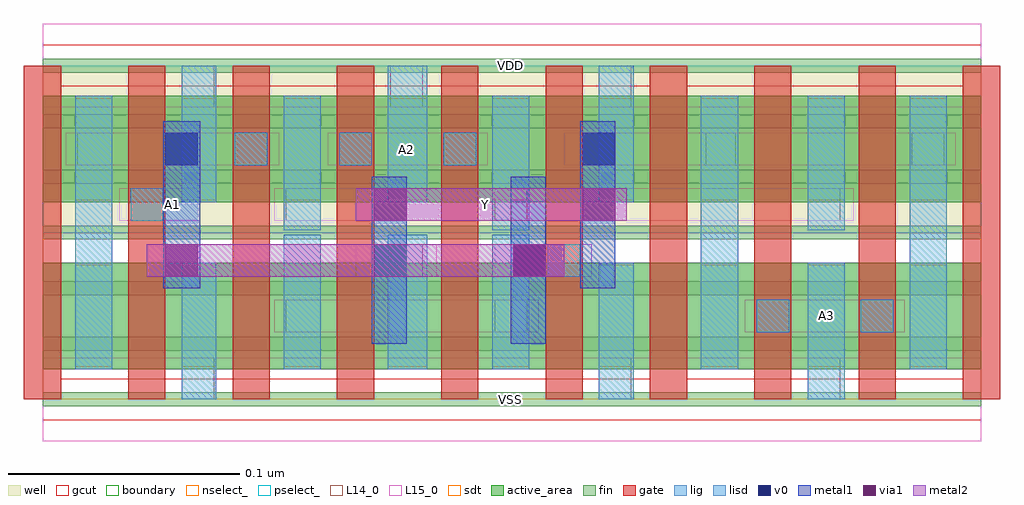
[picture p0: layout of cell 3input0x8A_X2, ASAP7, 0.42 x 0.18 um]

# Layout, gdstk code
import gdstk
lib = gdstk.Library(unit=1e-6, precision=1e-09)
def R(c, l, rs):  # rectangles x0, y0, x1, y1
    for r in rs: c.add(gdstk.rectangle(r[:2], r[2:], *l))
def A(c, l, x, y, w, h, nx, ny, dx, dy):  # array of equal rectangles
    R(c, l, [(x+i*dx, y+j*dy, x+i*dx+w, y+j*dy+h) for i in range(nx) for j in range(ny)])
def P(c, l, *ps):  # polygons
    for p in ps: c.add(gdstk.Polygon(p, *l))
well = (1, 0)
fin = (2, 0)
gate = (7, 0)
gcut = (10, 0)
active_area = (11, 0)
nselect_ = (12, 0)
pselect_ = (13, 0)
L14_0 = (14, 0)
L15_0 = (15, 0)
lig = (16, 0)
lisd = (17, 0)
v0 = (18, 0)
metal1 = (19, 0)
metal2 = (20, 0)
via1 = (21, 0)
sdt = (88, 0)
boundary = (100, 0)

c_3input0x8a_x2 = lib.new_cell('3input0x8A_X2')
R(c_3input0x8a_x2, well, [(0,0.072,0.405,0.144)])
A(c_3input0x8a_x2, fin, 0, -0.003, 0.405, 0.006, 1, 7, 0, 0.024)
A(c_3input0x8a_x2, gate, -0.008, 0, 0.016, 0.144, 10, 1, 0.045, 0)
P(c_3input0x8a_x2, gcut, [(0,-0.009),(0,0),(-0.008,0),(-0.008,0.135),(0.008,0.135),(0.008,0.009),(0.262,0.009),(0.262,0.135),(0.278,0.135),(0.278,0.009),(0.397,0.009),(0.397,0.135),(-0.008,0.135),(-0.008,0.144),(0,0.144),(0,0.153),(0.405,0.153),(0.405,0.144),(0.413,0.144),(0.413,0),(0.405,0),(0.405,-0.009)])
R(c_3input0x8a_x2, active_area, [(0,0.013,0.405,0.059), (0,0.085,0.405,0.131)])
R(c_3input0x8a_x2, nselect_, [(0,0,0.405,0.072)])
R(c_3input0x8a_x2, pselect_, [(0,0.072,0.405,0.144)])
A(c_3input0x8a_x2, L14_0, 0.083, 0.101, 0.014, 0.014, 3, 1, 0.045, 0)
A(c_3input0x8a_x2, L14_0, 0.06, 0.126, 0.014, 0.018, 3, 1, 0.09, 0)
R(c_3input0x8a_x2, L14_0, [(0.06,0,0.074,0.018), (0.24,0,0.254,0.018), (0.33,0,0.344,0.018), (0.105,0.029,0.12,0.043), (0.195,0.029,0.209,0.043), (0.308,0.029,0.322,0.043), (0.353,0.029,0.367,0.043), (0.15,0.053,0.164,0.067), (0.218,0.053,0.232,0.067), (0.038,0.077,0.052,0.091), (0.105,0.077,0.12,0.091), (0.195,0.077,0.209,0.091), (0.33,0.077,0.344,0.091), (0.015,0.101,0.03,0.115), (0.286,0.101,0.299,0.115), (0.375,0.101,0.389,0.115)])
R(c_3input0x8a_x2, L15_0, [(0,-0.018,0.405,0.018), (0.1,0.029,0.214,0.043), (0.303,0.029,0.372,0.043), (0.135,0.053,0.17,0.067), (0.195,0.053,0.237,0.067), (0.033,0.077,0.068,0.091), (0.1,0.077,0.35,0.091), (0.01,0.101,0.102,0.115), (0.123,0.101,0.192,0.115), (0.225,0.101,0.394,0.115), (0,0.126,0.405,0.162)])
A(c_3input0x8a_x2, lig, 0.083, 0.101, 0.014, 0.014, 3, 1, 0.045, 0)
R(c_3input0x8a_x2, lig, [(0.308,0.029,0.322,0.043), (0.353,0.029,0.367,0.043), (0.218,0.053,0.232,0.067), (0.038,0.077,0.052,0.091)])
R(c_3input0x8a_x2, lisd, [(0.06,0,0.075,0.059), (0.24,0,0.255,0.059), (0.33,0,0.346,0.059), (0.014,0.013,0.03,0.131), (0.104,0.013,0.12,0.071), (0.149,0.013,0.166,0.071), (0.194,0.013,0.21,0.071), (0.284,0.013,0.3,0.131), (0.374,0.013,0.39,0.131), (0.104,0.073,0.12,0.131), (0.194,0.073,0.21,0.131), (0.33,0.073,0.346,0.131), (0.06,0.085,0.075,0.144), (0.149,0.085,0.166,0.144), (0.24,0.085,0.255,0.144)])
R(c_3input0x8a_x2, v0, [(0.143,0.053,0.157,0.067), (0.203,0.053,0.217,0.067), (0.053,0.101,0.067,0.115), (0.233,0.101,0.247,0.115)])
R(c_3input0x8a_x2, metal1, [(0.142,0.024,0.157,0.096), (0.202,0.024,0.217,0.096), (0.052,0.048,0.068,0.12), (0.232,0.048,0.247,0.12)])
R(c_3input0x8a_x2, metal2, [(0.045,0.053,0.225,0.067), (0.135,0.077,0.252,0.091)])
R(c_3input0x8a_x2, via1, [(0.053,0.053,0.067,0.067), (0.203,0.053,0.217,0.067), (0.143,0.077,0.157,0.091), (0.233,0.077,0.247,0.091)])
A(c_3input0x8a_x2, sdt, 0.014, 0.014, 0.016, 0.044, 4, 2, 0.09, 0.072)
R(c_3input0x8a_x2, sdt, [(0.06,0.014,0.075,0.058), (0.149,0.014,0.166,0.058), (0.24,0.014,0.255,0.058), (0.33,0.014,0.346,0.058), (0.374,0.014,0.39,0.058), (0.06,0.086,0.075,0.13), (0.149,0.086,0.166,0.13), (0.24,0.086,0.255,0.13), (0.33,0.086,0.346,0.13), (0.374,0.086,0.39,0.13)])
R(c_3input0x8a_x2, boundary, [(0,0,0.405,0.144)])
c_3input0x8a_x2.add(gdstk.Label('VSS', (0.202,0), layer=15, texttype=251))
c_3input0x8a_x2.add(gdstk.Label('VDD', (0.202,0.144), layer=15, texttype=251))
c_3input0x8a_x2.add(gdstk.Label('A3', (0.338,0.036), layer=15, texttype=251))
c_3input0x8a_x2.add(gdstk.Label('VSS', (0.202,0), layer=15, texttype=251))
c_3input0x8a_x2.add(gdstk.Label('VDD', (0.202,0.144), layer=15, texttype=251))
c_3input0x8a_x2.add(gdstk.Label('A2', (0.157,0.108), layer=15, texttype=251))
c_3input0x8a_x2.add(gdstk.Label('VSS', (0.202,0), layer=15, texttype=251))
c_3input0x8a_x2.add(gdstk.Label('VDD', (0.202,0.144), layer=15, texttype=251))
c_3input0x8a_x2.add(gdstk.Label('A1', (0.056,0.084), layer=15, texttype=251))
c_3input0x8a_x2.add(gdstk.Label('VSS', (0.202,0), layer=15, texttype=251))
c_3input0x8a_x2.add(gdstk.Label('VDD', (0.202,0.144), layer=15, texttype=251))
c_3input0x8a_x2.add(gdstk.Label('Y', (0.191,0.084), layer=20, texttype=251))
c_3input0x8a_x2.add(gdstk.Label('VSS', (0.202,0), layer=3, texttype=251))
c_3input0x8a_x2.add(gdstk.Label('VSS', (0.202,0), layer=3, texttype=251))
c_3input0x8a_x2.add(gdstk.Label('VSS', (0.202,0), layer=3, texttype=251))
c_3input0x8a_x2.add(gdstk.Label('VSS', (0.202,0), layer=3, texttype=251))
c_3input0x8a_x2.add(gdstk.Label('VDD', (0.202,0.144), layer=1, texttype=251))
c_3input0x8a_x2.add(gdstk.Label('VDD', (0.202,0.144), layer=1, texttype=251))
c_3input0x8a_x2.add(gdstk.Label('VDD', (0.202,0.144), layer=1, texttype=251))
c_3input0x8a_x2.add(gdstk.Label('VDD', (0.202,0.144), layer=1, texttype=251))

lib.write_gds('3input0x8A_X2.gds')
